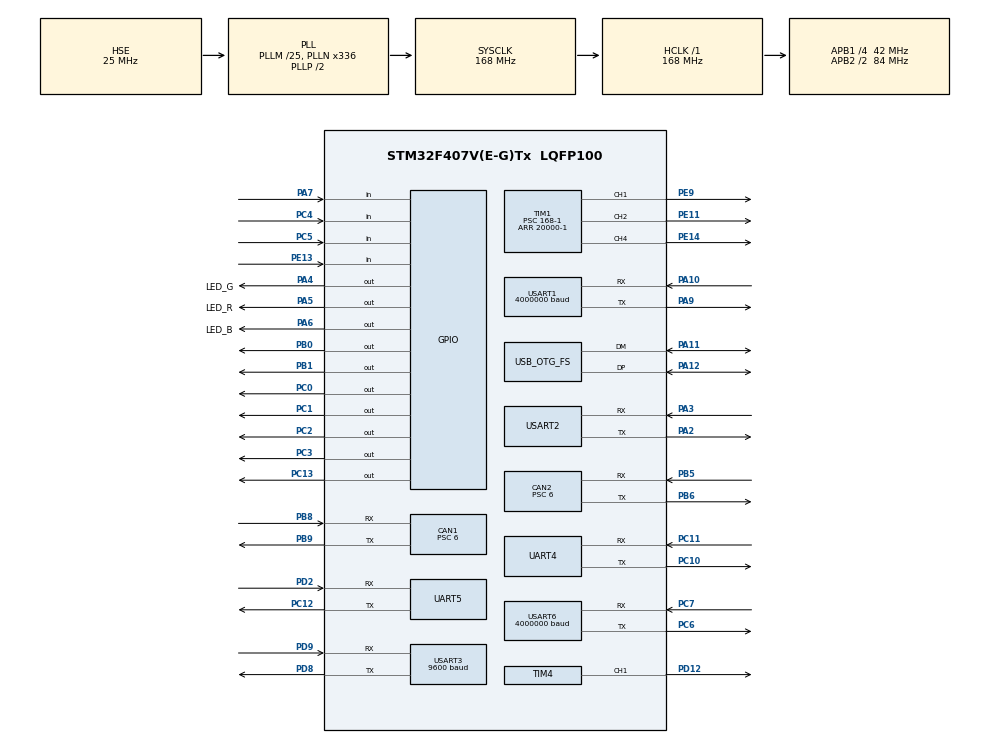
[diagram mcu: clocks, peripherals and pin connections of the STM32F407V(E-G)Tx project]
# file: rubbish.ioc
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CAN1.BS1=CAN_BS1_3TQ
CAN1.BS2=CAN_BS2_3TQ
CAN1.CalculateBaudRate=1000000
CAN1.CalculateTimeBit=1000
CAN1.CalculateTimeQuantum=142.85714285714286
CAN1.Prescaler=6
CAN1.SJW=CAN_SJW_1TQ
CAN2.BS1=CAN_BS1_3TQ
CAN2.BS2=CAN_BS2_3TQ
CAN2.CalculateBaudRate=1000000
CAN2.CalculateTimeBit=1000
CAN2.CalculateTimeQuantum=142.85714285714286
CAN2.Prescaler=6
Dma.Request0=UART5_RX
Dma.Request1=UART5_TX
Dma.Request10=USART3_TX
Dma.Request2=USART2_RX
Dma.Request3=USART2_TX
Dma.Request4=UART4_RX
Dma.Request5=USART1_RX
Dma.Request6=USART1_TX
Dma.Request7=USART6_RX
Dma.Request8=USART6_TX
Dma.Request9=USART3_RX
Dma.UART4_RX.4.Direction=DMA_PERIPH_TO_MEMORY
Dma.UART4_RX.4.FIFOMode=DMA_FIFOMODE_DISABLE
Dma.UART4_RX.4.Instance=DMA1_Stream2
Dma.UART4_RX.4.MemDataAlignment=DMA_MDATAALIGN_BYTE
Dma.UART4_RX.4.MemInc=DMA_MINC_ENABLE
Dma.UART4_RX.4.Mode=DMA_NORMAL
Dma.UART4_RX.4.PeriphDataAlignment=DMA_PDATAALIGN_BYTE
Dma.UART4_RX.4.PeriphInc=DMA_PINC_DISABLE
Dma.UART4_RX.4.Priority=DMA_PRIORITY_LOW
Dma.UART5_RX.0.Direction=DMA_PERIPH_TO_MEMORY
Dma.UART5_RX.0.FIFOMode=DMA_FIFOMODE_DISABLE
Dma.UART5_RX.0.Instance=DMA1_Stream0
Dma.UART5_RX.0.MemDataAlignment=DMA_MDATAALIGN_BYTE
Dma.UART5_RX.0.MemInc=DMA_MINC_ENABLE
Dma.UART5_RX.0.Mode=DMA_NORMAL
Dma.UART5_RX.0.PeriphDataAlignment=DMA_PDATAALIGN_BYTE
Dma.UART5_RX.0.PeriphInc=DMA_PINC_DISABLE
Dma.UART5_RX.0.Priority=DMA_PRIORITY_LOW
Dma.UART5_TX.1.Direction=DMA_MEMORY_TO_PERIPH
Dma.UART5_TX.1.FIFOMode=DMA_FIFOMODE_DISABLE
Dma.UART5_TX.1.Instance=DMA1_Stream7
Dma.UART5_TX.1.MemDataAlignment=DMA_MDATAALIGN_BYTE
Dma.UART5_TX.1.MemInc=DMA_MINC_ENABLE
Dma.UART5_TX.1.Mode=DMA_NORMAL
Dma.UART5_TX.1.PeriphDataAlignment=DMA_PDATAALIGN_BYTE
Dma.UART5_TX.1.PeriphInc=DMA_PINC_DISABLE
Dma.UART5_TX.1.Priority=DMA_PRIORITY_LOW
Dma.USART1_RX.5.Direction=DMA_PERIPH_TO_MEMORY
Dma.USART1_RX.5.FIFOMode=DMA_FIFOMODE_DISABLE
Dma.USART1_RX.5.Instance=DMA2_Stream2
Dma.USART1_RX.5.MemDataAlignment=DMA_MDATAALIGN_BYTE
Dma.USART1_RX.5.MemInc=DMA_MINC_ENABLE
Dma.USART1_RX.5.Mode=DMA_NORMAL
Dma.USART1_RX.5.PeriphDataAlignment=DMA_PDATAALIGN_BYTE
Dma.USART1_RX.5.PeriphInc=DMA_PINC_DISABLE
Dma.USART1_RX.5.Priority=DMA_PRIORITY_HIGH
Dma.USART1_TX.6.Direction=DMA_MEMORY_TO_PERIPH
Dma.USART1_TX.6.FIFOMode=DMA_FIFOMODE_DISABLE
Dma.USART1_TX.6.Instance=DMA2_Stream7
Dma.USART1_TX.6.MemDataAlignment=DMA_MDATAALIGN_BYTE
Dma.USART1_TX.6.MemInc=DMA_MINC_ENABLE
Dma.USART1_TX.6.Mode=DMA_NORMAL
Dma.USART1_TX.6.PeriphDataAlignment=DMA_PDATAALIGN_BYTE
Dma.USART1_TX.6.PeriphInc=DMA_PINC_DISABLE
Dma.USART1_TX.6.Priority=DMA_PRIORITY_HIGH
Dma.USART2_RX.2.Direction=DMA_PERIPH_TO_MEMORY
Dma.USART2_RX.2.FIFOMode=DMA_FIFOMODE_DISABLE
Dma.USART2_RX.2.Instance=DMA1_Stream5
Dma.USART2_RX.2.MemDataAlignment=DMA_MDATAALIGN_BYTE
Dma.USART2_RX.2.MemInc=DMA_MINC_ENABLE
Dma.USART2_RX.2.Mode=DMA_NORMAL
Dma.USART2_RX.2.PeriphDataAlignment=DMA_PDATAALIGN_BYTE
Dma.USART2_RX.2.PeriphInc=DMA_PINC_DISABLE
Dma.USART2_RX.2.Priority=DMA_PRIORITY_LOW
Dma.USART2_TX.3.Direction=DMA_MEMORY_TO_PERIPH
Dma.USART2_TX.3.FIFOMode=DMA_FIFOMODE_DISABLE
Dma.USART2_TX.3.Instance=DMA1_Stream6
Dma.USART2_TX.3.MemDataAlignment=DMA_MDATAALIGN_BYTE
Dma.USART2_TX.3.MemInc=DMA_MINC_ENABLE
Dma.USART2_TX.3.Mode=DMA_NORMAL
Dma.USART2_TX.3.PeriphDataAlignment=DMA_PDATAALIGN_BYTE
Dma.USART2_TX.3.PeriphInc=DMA_PINC_DISABLE
Dma.USART2_TX.3.Priority=DMA_PRIORITY_LOW
Dma.USART3_RX.9.Direction=DMA_PERIPH_TO_MEMORY
Dma.USART3_RX.9.FIFOMode=DMA_FIFOMODE_DISABLE
Dma.USART3_RX.9.Instance=DMA1_Stream1
Dma.USART3_RX.9.MemDataAlignment=DMA_MDATAALIGN_BYTE
Dma.USART3_RX.9.MemInc=DMA_MINC_ENABLE
Dma.USART3_RX.9.Mode=DMA_NORMAL
Dma.USART3_RX.9.PeriphDataAlignment=DMA_PDATAALIGN_BYTE
Dma.USART3_RX.9.PeriphInc=DMA_PINC_DISABLE
Dma.USART3_RX.9.Priority=DMA_PRIORITY_LOW
Dma.USART3_TX.10.Direction=DMA_MEMORY_TO_PERIPH
Dma.USART3_TX.10.FIFOMode=DMA_FIFOMODE_DISABLE
Dma.USART3_TX.10.Instance=DMA1_Stream3
Dma.USART3_TX.10.MemDataAlignment=DMA_MDATAALIGN_BYTE
Dma.USART3_TX.10.MemInc=DMA_MINC_ENABLE
Dma.USART3_TX.10.Mode=DMA_NORMAL
Dma.USART3_TX.10.PeriphDataAlignment=DMA_PDATAALIGN_BYTE
Dma.USART3_TX.10.PeriphInc=DMA_PINC_DISABLE
Dma.USART3_TX.10.Priority=DMA_PRIORITY_LOW
Dma.USART6_RX.7.Direction=DMA_PERIPH_TO_MEMORY
Dma.USART6_RX.7.FIFOMode=DMA_FIFOMODE_DISABLE
Dma.USART6_RX.7.Instance=DMA2_Stream1
Dma.USART6_RX.7.MemDataAlignment=DMA_MDATAALIGN_BYTE
Dma.USART6_RX.7.MemInc=DMA_MINC_ENABLE
Dma.USART6_RX.7.Mode=DMA_NORMAL
Dma.USART6_RX.7.PeriphDataAlignment=DMA_PDATAALIGN_BYTE
Dma.USART6_RX.7.PeriphInc=DMA_PINC_DISABLE
Dma.USART6_RX.7.Priority=DMA_PRIORITY_HIGH
Dma.USART6_TX.8.Direction=DMA_MEMORY_TO_PERIPH
Dma.USART6_TX.8.FIFOMode=DMA_FIFOMODE_DISABLE
Dma.USART6_TX.8.Instance=DMA2_Stream6
Dma.USART6_TX.8.MemDataAlignment=DMA_MDATAALIGN_BYTE
Dma.USART6_TX.8.MemInc=DMA_MINC_ENABLE
Dma.USART6_TX.8.Mode=DMA_NORMAL
Dma.USART6_TX.8.PeriphDataAlignment=DMA_PDATAALIGN_BYTE
Dma.USART6_TX.8.PeriphInc=DMA_PINC_DISABLE
Dma.USART6_TX.8.Priority=DMA_PRIORITY_HIGH
FREERTOS.INCLUDE_vTaskDelayUntil=1
FREERTOS.Tasks01=defaultTask,0,128,StartDefaultTask,Default,NULL,Dynamic,NULL,NULL
Mcu.Family=STM32F4
Mcu.Name=STM32F407V(E-G)Tx
Mcu.Package=LQFP100
NVIC.CAN1_RX0_IRQn=true\:5\:0\:false\:false\:true\:true\:true\:true\:true
NVIC.CAN1_TX_IRQn=true\:5\:0\:false\:false\:true\:true\:true\:true\:true
NVIC.CAN2_RX1_IRQn=true\:5\:0\:false\:false\:true\:true\:true\:true\:true
NVIC.CAN2_TX_IRQn=true\:5\:0\:false\:false\:true\:true\:true\:true\:true
NVIC.DMA1_Stream0_IRQn=true\:5\:0\:false\:false\:true\:true\:false\:true\:true
NVIC.DMA1_Stream1_IRQn=true\:5\:0\:false\:false\:true\:true\:false\:true\:true
NVIC.DMA1_Stream2_IRQn=true\:5\:0\:false\:false\:true\:true\:false\:true\:true
NVIC.DMA1_Stream3_IRQn=true\:5\:0\:false\:false\:true\:true\:false\:true\:true
NVIC.DMA1_Stream5_IRQn=true\:5\:0\:false\:false\:true\:true\:false\:true\:true
NVIC.DMA1_Stream6_IRQn=true\:5\:0\:false\:false\:true\:true\:false\:true\:true
NVIC.DMA1_Stream7_IRQn=true\:5\:0\:false\:false\:true\:true\:false\:true\:true
NVIC.DMA2_Stream1_IRQn=true\:5\:0\:false\:false\:true\:true\:false\:true\:true
NVIC.DMA2_Stream2_IRQn=true\:5\:0\:false\:false\:true\:true\:false\:true\:true
NVIC.DMA2_Stream6_IRQn=true\:5\:0\:false\:false\:true\:true\:false\:true\:true
NVIC.DMA2_Stream7_IRQn=true\:5\:0\:false\:false\:true\:true\:false\:true\:true
NVIC.OTG_FS_IRQn=true\:6\:0\:true\:false\:true\:true\:true\:true\:true
NVIC.PriorityGroup=NVIC_PRIORITYGROUP_4
NVIC.TIM1_UP_TIM10_IRQn=true\:5\:0\:false\:false\:true\:true\:true\:true\:true
NVIC.TIM2_IRQn=true\:15\:0\:false\:false\:true\:false\:false\:true\:true
NVIC.TimeBase=TIM2_IRQn
NVIC.TimeBaseIP=TIM2
NVIC.UART4_IRQn=true\:5\:0\:false\:false\:true\:true\:true\:true\:true
NVIC.UART5_IRQn=true\:5\:0\:false\:false\:true\:true\:true\:true\:true
NVIC.USART1_IRQn=true\:5\:0\:false\:false\:true\:true\:true\:true\:true
NVIC.USART2_IRQn=true\:5\:0\:false\:false\:true\:true\:true\:true\:true
NVIC.USART3_IRQn=true\:5\:0\:false\:false\:true\:true\:true\:true\:true
NVIC.USART6_IRQn=true\:5\:0\:false\:false\:true\:true\:true\:true\:true
PA10.Mode=Asynchronous
PA10.Signal=USART1_RX
PA11.GPIO_PuPd=GPIO_PULLDOWN
PA11.Mode=Device_Only
PA11.Signal=USB_OTG_FS_DM
PA12.GPIO_PuPd=GPIO_PULLDOWN
PA12.Mode=Device_Only
PA12.Signal=USB_OTG_FS_DP
PA13.Mode=Serial_Wire
PA13.Signal=SYS_JTMS-SWDIO
PA14.Mode=Serial_Wire
PA14.Signal=SYS_JTCK-SWCLK
PA2.Mode=Asynchronous
PA2.Signal=USART2_TX
PA3.Mode=Asynchronous
PA3.Signal=USART2_RX
PA4.GPIO_Label=LED_G
PA4.Signal=GPIO_Output
PA5.GPIO_Label=LED_R
PA5.Signal=GPIO_Output
PA6.GPIO_Label=LED_B
PA6.Signal=GPIO_Output
PA7.Signal=GPIO_Input
PA9.Mode=Asynchronous
PA9.Signal=USART1_TX
PB0.Signal=GPIO_Output
PB1.Signal=GPIO_Output
PB5.Mode=CAN_Activate
PB5.Signal=CAN2_RX
PB6.Mode=CAN_Activate
PB6.Signal=CAN2_TX
PB8.Mode=CAN_Activate
PB8.Signal=CAN1_RX
PB9.Mode=CAN_Activate
PB9.Signal=CAN1_TX
PC0.PinState=GPIO_PIN_SET
PC0.Signal=GPIO_Output
PC1.PinState=GPIO_PIN_SET
PC1.Signal=GPIO_Output
PC10.Mode=Asynchronous
PC10.Signal=UART4_TX
PC11.Mode=Asynchronous
PC11.Signal=UART4_RX
PC12.Mode=Asynchronous
PC12.Signal=UART5_TX
PC13-ANTI_TAMP.PinState=GPIO_PIN_SET
PC13-ANTI_TAMP.Signal=GPIO_Output
PC2.PinState=GPIO_PIN_SET
PC2.Signal=GPIO_Output
PC3.PinState=GPIO_PIN_SET
PC3.Signal=GPIO_Output
PC4.Signal=GPIO_Input
PC5.Signal=GPIO_Input
PC6.Mode=Asynchronous
PC6.Signal=USART6_TX
PC7.Mode=Asynchronous
PC7.Signal=USART6_RX
PD12.Signal=S_TIM4_CH1
PD2.Mode=Asynchronous
PD2.Signal=UART5_RX
PD8.Mode=Asynchronous
PD8.Signal=USART3_TX
PD9.Mode=Asynchronous
PD9.Signal=USART3_RX
PE11.Signal=S_TIM1_CH2
PE13.GPIO_PuPd=GPIO_PULLUP
PE13.Signal=GPIO_Input
PE14.Signal=S_TIM1_CH4
PE9.Signal=S_TIM1_CH1
PH0-OSC_IN.Mode=HSE-External-Oscillator
PH0-OSC_IN.Signal=RCC_OSC_IN
PH1-OSC_OUT.Mode=HSE-External-Oscillator
PH1-OSC_OUT.Signal=RCC_OSC_OUT
ProjectManager.HeapSize=0x200
ProjectManager.StackSize=0x400
ProjectManager.TargetToolchain=MDK-ARM V5
RCC.48MHZClocksFreq_Value=48000000
RCC.AHBFreq_Value=168000000
RCC.APB1CLKDivider=RCC_HCLK_DIV4
RCC.APB1Freq_Value=42000000
RCC.APB1TimFreq_Value=84000000
RCC.APB2CLKDivider=RCC_HCLK_DIV2
RCC.APB2Freq_Value=84000000
RCC.APB2TimFreq_Value=168000000
RCC.CortexFreq_Value=168000000
RCC.HCLKFreq_Value=168000000
RCC.HSE_VALUE=25000000
RCC.HSI_VALUE=16000000
RCC.LSE_VALUE=32768
RCC.PLLM=25
RCC.PLLN=336
RCC.PLLQ=7
RCC.SYSCLKFreq_VALUE=168000000
RCC.SYSCLKSource=RCC_SYSCLKSOURCE_PLLCLK
RCC.VCOOutputFreq_Value=336000000
SH.S_TIM1_CH1.0=TIM1_CH1,PWM Generation1 CH1
SH.S_TIM1_CH2.0=TIM1_CH2,PWM Generation2 CH2
SH.S_TIM1_CH4.0=TIM1_CH4,PWM Generation4 CH4
SH.S_TIM4_CH1.0=TIM4_CH1,PWM Generation1 CH1
STMicroelectronics.X-CUBE-ALGOBUILD.1.4.0.LibraryCcDSPOoLibraryJjDSPOoLibrary=true
TIM1.Channel-PWM\ Generation1\ CH1=TIM_CHANNEL_1
TIM1.Channel-PWM\ Generation2\ CH2=TIM_CHANNEL_2
TIM1.Channel-PWM\ Generation4\ CH4=TIM_CHANNEL_4
TIM1.Period=20000-1
TIM1.Prescaler=168-1
TIM10.Period=1000-1
TIM10.Prescaler=168-1
TIM4.Channel-PWM\ Generation1\ CH1=TIM_CHANNEL_1
TIM4.Period=20000-1
TIM4.Prescaler=84-1
UART4.VirtualMode=Asynchronous
UART5.VirtualMode=Asynchronous
USART1.BaudRate=4000000
USART1.VirtualMode=VM_ASYNC
USART2.VirtualMode=VM_ASYNC
USART3.BaudRate=9600
USART3.VirtualMode=VM_ASYNC
USART6.BaudRate=4000000
USART6.VirtualMode=VM_ASYNC
USB_DEVICE.CLASS_NAME_FS=CDC
USB_DEVICE.VID-CDC_FS=1156
USB_DEVICE.VirtualMode-CDC_FS=Cdc
USB_DEVICE.VirtualModeFS=Cdc_FS
USB_OTG_FS.VirtualMode=Device_Only
VP_FREERTOS_VS_CMSIS_V1.Mode=CMSIS_V1
VP_STMicroelectronics.X-CUBE-ALGOBUILD_VS_DSPOoLibraryJjLibrary_1.4.0_1.4.0.Mode=DSPOoLibraryJjLibrary
VP_SYS_VS_tim2.Mode=TIM2
VP_TIM10_VS_ClockSourceINT.Mode=Enable_Timer
VP_USB_DEVICE_VS_USB_DEVICE_CDC_FS.Mode=CDC_FS
board=custom

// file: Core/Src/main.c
/* USER CODE BEGIN Header */
/**
  ******************************************************************************
  * @file           : main.c
  * @brief          : Main program body
  ******************************************************************************
  * @attention
  *
  * Copyright (c) 2025 STMicroelectronics.
  * All rights reserved.
  *
  * This software is licensed under terms that can be found in the LICENSE file
  * in the root directory of this software component.
  * If no LICENSE file comes with this software, it is provided AS-IS.
  *
  ******************************************************************************
  */
/* USER CODE END Header */
#include "main.h"
#include "cmsis_os.h"
#include "can.h"
#include "dma.h"
#include "tim.h"
#include "usart.h"
#include "usb_device.h"
#include "gpio.h"

/* USER CODE BEGIN Includes */
#include "CANDrive.h"
#include "arm.h"

/* USER CODE END Includes */

void SystemClock_Config(void);
void MX_FREERTOS_Init(void);

int main(void)
{

  /* MCU Configuration--------------------------------------------------------*/

  /* Reset of all peripherals, Initializes the Flash interface and the Systick. */
  HAL_Init();

  /* Configure the system clock */
  SystemClock_Config();

  /* Initialize all configured peripherals */
  MX_GPIO_Init();
  MX_DMA_Init();
  MX_CAN1_Init();
  MX_CAN2_Init();
  MX_TIM1_Init();
  MX_TIM4_Init();
  MX_UART5_Init();
  MX_USART2_UART_Init();
  MX_USART3_UART_Init();
  MX_UART4_Init();
  MX_USART6_UART_Init();
  MX_USART1_UART_Init();
  MX_TIM10_Init();
  /* USER CODE BEGIN 2 */
	MX_USB_DEVICE_Init();

  CanFilter_Init(&hcan1);
  CanFilter_Init(&hcan2);

	HAL_CAN_Start(&hcan1);
  HAL_CAN_Start(&hcan2);
	HAL_CAN_ActivateNotification(&hcan1,CAN_IT_RX_FIFO0_MSG_PENDING);
  HAL_CAN_ActivateNotification(&hcan2,CAN_IT_RX_FIFO1_MSG_PENDING);
	HAL_CAN_ActivateNotification(&hcan1,CAN_IT_TX_MAILBOX_EMPTY);
	HAL_CAN_ActivateNotification(&hcan2,CAN_IT_TX_MAILBOX_EMPTY);
  /* USER CODE END 2 */

  /* Call init function for freertos objects (in freertos.c) */
  MX_FREERTOS_Init();

  /* Start scheduler */
  osKernelStart();

  /* We should never get here as control is now taken by the scheduler */
  /* Infinite loop */
  while (1)
  {

  }
}

void SystemClock_Config(void)
{
  RCC_OscInitTypeDef RCC_OscInitStruct = {0};
  RCC_ClkInitTypeDef RCC_ClkInitStruct = {0};

  /** Configure the main internal regulator output voltage
  */
  __HAL_RCC_PWR_CLK_ENABLE();
  __HAL_PWR_VOLTAGESCALING_CONFIG(PWR_REGULATOR_VOLTAGE_SCALE1);

  /** Initializes the RCC Oscillators according to the specified parameters
  * in the RCC_OscInitTypeDef structure.
  */
  RCC_OscInitStruct.OscillatorType = RCC_OSCILLATORTYPE_HSE;
  RCC_OscInitStruct.HSEState = RCC_HSE_ON;
  RCC_OscInitStruct.PLL.PLLState = RCC_PLL_ON;
  RCC_OscInitStruct.PLL.PLLSource = RCC_PLLSOURCE_HSE;
  RCC_OscInitStruct.PLL.PLLM = 25;
  RCC_OscInitStruct.PLL.PLLN = 336;
  RCC_OscInitStruct.PLL.PLLP = RCC_PLLP_DIV2;
  RCC_OscInitStruct.PLL.PLLQ = 7;
  if (HAL_RCC_OscConfig(&RCC_OscInitStruct) != HAL_OK)
  {
    Error_Handler();
  }

  /** Initializes the CPU, AHB and APB buses clocks
  */
  RCC_ClkInitStruct.ClockType = RCC_CLOCKTYPE_HCLK|RCC_CLOCKTYPE_SYSCLK
                              |RCC_CLOCKTYPE_PCLK1|RCC_CLOCKTYPE_PCLK2;
  RCC_ClkInitStruct.SYSCLKSource = RCC_SYSCLKSOURCE_PLLCLK;
  RCC_ClkInitStruct.AHBCLKDivider = RCC_SYSCLK_DIV1;
  RCC_ClkInitStruct.APB1CLKDivider = RCC_HCLK_DIV4;
  RCC_ClkInitStruct.APB2CLKDivider = RCC_HCLK_DIV2;

  if (HAL_RCC_ClockConfig(&RCC_ClkInitStruct, FLASH_LATENCY_5) != HAL_OK)
  {
    Error_Handler();
  }
}

void HAL_TIM_PeriodElapsedCallback(TIM_HandleTypeDef *htim)
{
  if (htim->Instance == TIM2) {
    HAL_IncTick();
  }
}

void Error_Handler(void)
{
  __disable_irq();
  while (1)
  {
  }
}

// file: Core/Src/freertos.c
/* USER CODE BEGIN Header */
/**
  ******************************************************************************
  * File Name          : freertos.c
  * Description        : Code for freertos applications
  ******************************************************************************
  * @attention
  *
  * Copyright (c) 2025 STMicroelectronics.
  * All rights reserved.
  *
  * This software is licensed under terms that can be found in the LICENSE file
  * in the root directory of this software component.
  * If no LICENSE file comes with this software, it is provided AS-IS.
  *
  ******************************************************************************
  */
/* USER CODE END Header */

#include "FreeRTOS.h"
#include "task.h"
#include "main.h"
#include "cmsis_os.h"

/* USER CODE BEGIN Includes */
#include "run.h"
#include "task_init.h"
/* USER CODE END Includes */

/* USER CODE BEGIN PD */

extern uint8_t data[11];
extern UART_HandleTypeDef huart4;
extern UART_HandleTypeDef huart6;
/* USER CODE END PD */

/* USER CODE BEGIN PM */
TaskHandle_t usb_send_task_handle;
TaskHandle_t usb_recv_task_handle;

/* USER CODE END PM */

osThreadId defaultTaskHandle;

void StartDefaultTask(void const * argument);

extern void MX_USB_DEVICE_Init(void);
void MX_FREERTOS_Init(void); /* (MISRA C 2004 rule 8.1) */

/* GetIdleTaskMemory prototype (linked to static allocation support) */
void vApplicationGetIdleTaskMemory( StaticTask_t **ppxIdleTaskTCBBuffer, StackType_t **ppxIdleTaskStackBuffer, uint32_t *pulIdleTaskStackSize );

/* USER CODE BEGIN GET_IDLE_TASK_MEMORY */
static StaticTask_t xIdleTaskTCBBuffer;
static StackType_t xIdleStack[configMINIMAL_STACK_SIZE];

void vApplicationGetIdleTaskMemory( StaticTask_t **ppxIdleTaskTCBBuffer, StackType_t **ppxIdleTaskStackBuffer, uint32_t *pulIdleTaskStackSize )
{
  *ppxIdleTaskTCBBuffer = &xIdleTaskTCBBuffer;
  *ppxIdleTaskStackBuffer = &xIdleStack[0];
  *pulIdleTaskStackSize = configMINIMAL_STACK_SIZE;
  /* place for user code */
}
/* USER CODE END GET_IDLE_TASK_MEMORY */

void MX_FREERTOS_Init(void) {

  /* Create the thread(s) */
  /* definition and creation of defaultTask */
  osThreadDef(defaultTask, StartDefaultTask, osPriorityNormal, 0, 128);
  defaultTaskHandle = osThreadCreate(osThread(defaultTask), NULL);

  /* USER CODE BEGIN RTOS_THREADS */
  /* add threads, ... */
 // HAL_UART_Receive_DMA(&huart4,data,11);
 // xTaskCreate(MotorSendTask,"MotorSend",256,NULL,4,&usb_send_task_handle);
  // xTaskCreate(MotorRecvTask,"MotorRecv",128,NULL,4,&usb_recv_task_handle);
	//xTaskCreate(WheelControlTask,"WheelCtrl",128,NULL,6,&wheel_control_task_handle);
 // xTaskCreate(UART6_ServiceTask,"UART6Reset",256,NULL,7,&uart6_service_task_handle);
  //RS485Init(&rs485bus, &huart6, GPIOA, GPIO_PIN_4);// 初始化485总线管理器
  /* USER CODE END RTOS_THREADS */

}

void StartDefaultTask(void const * argument)
{
  /* init code for USB_DEVICE */
  MX_USB_DEVICE_Init();
  /* USER CODE BEGIN StartDefaultTask */
  task_init();
  /* Infinite loop */
  for(;;)
  {
		//task_init();
    osDelay(1);
  }
  /* USER CODE END StartDefaultTask */
}
